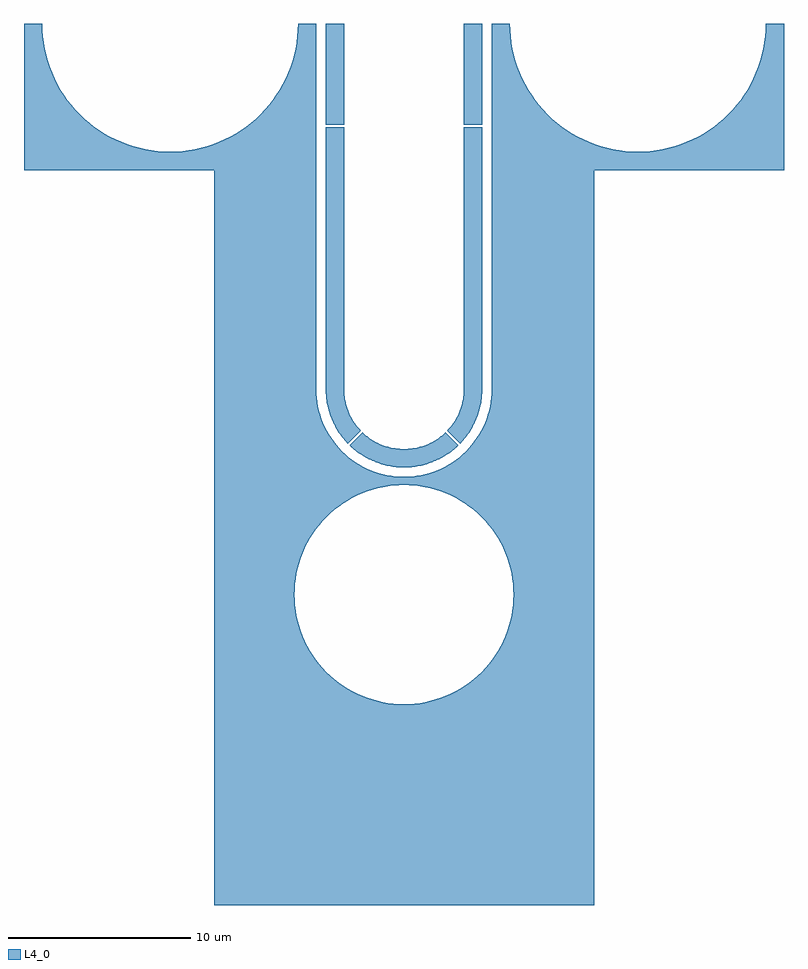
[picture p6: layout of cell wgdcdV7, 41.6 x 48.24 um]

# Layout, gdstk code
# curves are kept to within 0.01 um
import gdstk
lib = gdstk.Library(unit=1e-6, precision=1e-09)
def R(c, l, rs):  # rectangles x0, y0, x1, y1
    for r in rs: c.add(gdstk.rectangle(r[:2], r[2:], *l))
def P(c, l, *ps):  # polygons
    for p in ps: c.add(gdstk.Polygon(p, *l))
L4_0 = (4, 0)

wgdcdv7 = lib.new_cell('wgdcdV7')
R(wgdcdv7, L4_0, [(3.28,11.24,4.28,25.57), (-4.28,25.71,-3.28,31.24), (3.28,25.71,4.28,31.24)])
P(wgdcdv7, L4_0, [(0,6.96),(-0.42,6.981),(-0.835,7.042),(-1.242,7.144),(-1.638,7.286),(-2.018,7.465),(-2.378,7.681),(-2.715,7.932),(-2.976,8.165),(-2.269,8.872),(-1.954,8.605),(-1.686,8.427),(-1.329,8.241),(-1.029,8.126),(-0.64,8.023),(-0.321,7.976),(0,7.96),(0.402,7.985),(0.64,8.023),(0.952,8.101),(1.402,8.275),(1.617,8.386),(1.889,8.558),(2.269,8.872),(2.976,8.165),(2.796,7.999),(2.464,7.741),(2.11,7.516),(1.734,7.327),(1.442,7.21),(1.04,7.088),(0.732,7.023),(0.42,6.981)],
  [(3.075,8.264),(2.368,8.971),(2.586,9.222),(2.771,9.485),(2.93,9.765),(3.03,9.985),(3.139,10.288),(3.217,10.6),(3.264,10.919),(3.28,11.24),(4.28,11.24),(4.259,10.82),(4.198,10.405),(4.096,9.998),(3.954,9.602),(3.775,9.222),(3.559,8.862),(3.308,8.525)],
  [(-3.075,8.264),(-3.308,8.525),(-3.559,8.862),(-3.775,9.222),(-3.913,9.506),(-4.03,9.798),(-4.152,10.2),(-4.234,10.612),(-4.268,10.925),(-4.28,11.24),(-4.28,25.57),(-3.28,25.57),(-3.276,11.079),(-3.244,10.759),(-3.182,10.443),(-3.088,10.135),(-2.999,9.911),(-2.854,9.623),(-2.727,9.418),(-2.586,9.222),(-2.368,8.971)],
  [(-10.4,-17),(-10.4,-6),(0.294,-5.993),(0.588,-5.971),(1.171,-5.885),(1.742,-5.742),(2.296,-5.543),(2.828,-5.292),(3.085,-5.146),(3.574,-4.819),(4.029,-4.446),(4.243,-4.243),(4.638,-3.806),(4.989,-3.333),(5.292,-2.828),(5.543,-2.296),(5.742,-1.742),(5.885,-1.171),(5.935,-0.88),(5.993,-0.294),(5.993,0.294),(5.971,0.588),(5.885,1.171),(5.742,1.742),(5.543,2.296),(5.424,2.565),(5.146,3.085),(4.819,3.574),(4.446,4.029),(4.029,4.446),(3.806,4.638),(3.333,4.989),(2.828,5.292),(2.296,5.543),(1.742,5.742),(1.171,5.885),(0.588,5.971),(0.294,5.993),(-0.294,5.993),(-0.588,5.971),(-1.171,5.885),(-1.742,5.742),(-2.296,5.543),(-2.828,5.292),(-3.085,5.146),(-3.574,4.819),(-4.029,4.446),(-4.243,4.243),(-4.638,3.806),(-4.989,3.333),(-5.292,2.828),(-5.543,2.296),(-5.742,1.742),(-5.885,1.171),(-5.935,0.88),(-5.993,0.294),(-5.993,-0.294),(-5.971,-0.588),(-5.885,-1.171),(-5.742,-1.742),(-5.543,-2.296),(-5.292,-2.828),(-5.146,-3.085),(-4.819,-3.574),(-4.446,-4.029),(-4.243,-4.243),(-3.806,-4.638),(-3.333,-4.989),(-2.828,-5.292),(-2.565,-5.424),(-2.021,-5.649),(-1.742,-5.742),(-1.171,-5.885),(-0.588,-5.971),(0,-6),(-10.4,-6),(-10.4,23.24),(-20.8,23.24),(-20.8,31.24),(-19.8,31.24),(-19.792,30.897),(-19.724,30.213),(-19.59,29.539),(-19.391,28.882),(-19.128,28.247),(-18.804,27.641),(-18.422,27.07),(-17.987,26.539),(-17.501,26.053),(-16.97,25.618),(-16.399,25.236),(-15.793,24.912),(-15.158,24.649),(-14.501,24.45),(-13.827,24.316),(-13.143,24.248),(-12.8,24.24),(-12.457,24.248),(-11.773,24.316),(-11.099,24.45),(-10.442,24.649),(-9.807,24.912),(-9.201,25.236),(-8.63,25.618),(-8.099,26.053),(-7.613,26.539),(-7.178,27.07),(-6.796,27.641),(-6.472,28.247),(-6.209,28.882),(-6.01,29.539),(-5.876,30.213),(-5.808,30.897),(-5.8,31.24),(-4.8,31.24),(-4.8,11.24),(-4.777,10.77),(-4.708,10.304),(-4.593,9.847),(-4.435,9.403),(-4.233,8.977),(-4.117,8.772),(-3.855,8.381),(-3.557,8.017),(-3.223,7.683),(-3.045,7.53),(-2.667,7.249),(-2.468,7.123),(-2.052,6.901),(-1.617,6.721),(-1.393,6.647),(-0.936,6.532),(-0.47,6.463),(0,6.44),(0.47,6.463),(0.936,6.532),(1.166,6.584),(1.617,6.721),(2.052,6.901),(2.468,7.123),(2.667,7.249),(3.045,7.53),(3.223,7.683),(3.557,8.017),(3.855,8.381),(4.117,8.772),(4.233,8.977),(4.435,9.403),(4.593,9.847),(4.708,10.304),(4.777,10.77),(4.8,11.24),(4.8,31.24),(5.8,31.24),(5.808,30.897),(5.876,30.213),(6.01,29.539),(6.209,28.882),(6.472,28.247),(6.796,27.641),(7.178,27.07),(7.613,26.539),(8.099,26.053),(8.63,25.618),(9.201,25.236),(9.807,24.912),(10.442,24.649),(11.099,24.45),(11.773,24.316),(12.457,24.248),(12.8,24.24),(13.143,24.248),(13.827,24.316),(14.501,24.45),(15.158,24.649),(15.793,24.912),(16.399,25.236),(16.97,25.618),(17.501,26.053),(17.987,26.539),(18.422,27.07),(18.804,27.641),(19.128,28.247),(19.391,28.882),(19.59,29.539),(19.724,30.213),(19.792,30.897),(19.8,31.24),(20.8,31.24),(20.8,23.24),(10.4,23.24),(10.4,-17)])

lib.write_gds('wgdcdV7.gds')
